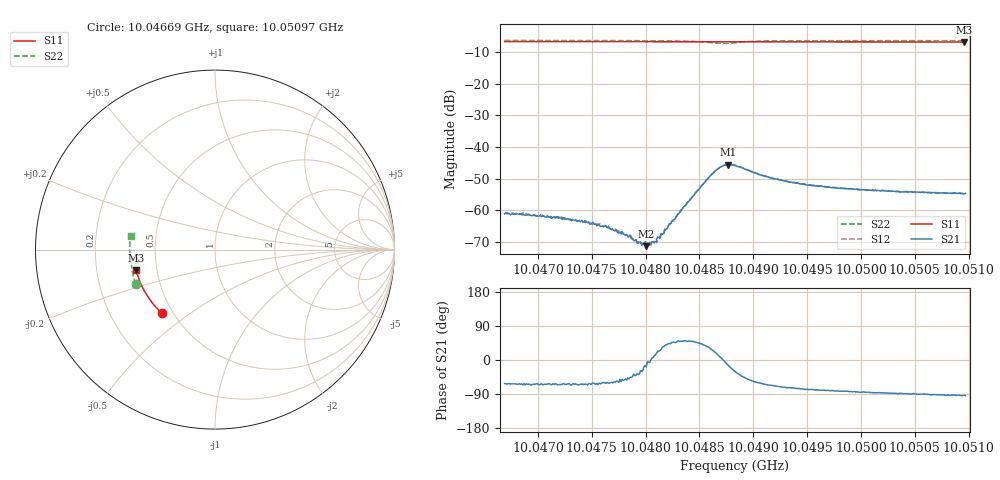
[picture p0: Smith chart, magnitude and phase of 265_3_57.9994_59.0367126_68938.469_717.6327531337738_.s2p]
#  HZ  S  RI  R  50.00
! Rohde & Schwarz Vector Network Analyzer
! Rohde-Schwarz,ZNB20-2Port,1311601062101988,3.16
! Created: UTC 3/21/2024, 1:02:09 AM
! freq[Hz]  re:S11  im:S11  re:S21  im:S21  re:S12  im:S12  re:S22  im:S22
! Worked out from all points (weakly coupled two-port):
!   401 points, 10.04669 GHz to 10.05097 GHz, reference 50 ohm
!   highest |S21| = -45.56 dB at 10.04877 GHz (marker M1); lowest = -71.3 dB at 10.04801 GHz (marker M2)
!   lowest |S11| = -6.9 dB at 10.05096 GHz (marker M3), VSWR 2.66, Z = 19.1 - j5.55 ohm
!   |S11| at or under -10 dB: nowhere
!   |S22| runs from -7.4 to -6.4 dB; largest |S21 - S12| = 0.00037
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1.0046691e10  -0.2962 -0.3531  0.000411 -0.000777  0.000486 -0.000789  -0.4397 -0.1915
1.0047172e10  -0.3191 -0.331  0.000335 -0.000691  0.000397 -0.000682  -0.4508 -0.1605
1.0047407e10  -0.3299 -0.3196  0.000311 -0.000621  0.000311 -0.000589  -0.4554 -0.1449
1.0047643e10  -0.3402 -0.3079  0.000272 -0.000456  0.000312 -0.00048  -0.4595 -0.1286
1.0047825e10  -0.3478 -0.2986  0.000251 -0.000326  0.000289 -0.000299  -0.462 -0.1156
1.004791e10  -0.3513 -0.2941  0.000263 -0.000223  0.000284 -0.000187  -0.4631 -0.1091
1.0047953e10  -0.3529 -0.2921  0.000282 -0.00015  0.00028 -0.000125  -0.4636 -0.1058
1.0048006e10  -0.3552 -0.2893  0.00026 -8.47e-05  0.000276 -4.89e-05  -0.464 -0.1015
1.0048028e10  -0.3561 -0.2882  0.00028 -2.75e-05  0.000287 -4.09e-05  -0.4641 -0.0999
1.004806e10  -0.3574 -0.2864  0.000326 3.05e-05  0.000283 3.62e-05  -0.4643 -0.0974
1.0048124e10  -0.36 -0.283  0.000343 0.000146  0.000309 0.00017  -0.4647 -0.0921
1.0048178e10  -0.362 -0.2803  0.000376 0.000291  0.000375 0.000343  -0.4647 -0.0875
1.0048306e10  -0.3668 -0.2733  0.000561 0.000686  0.000569 0.000728  -0.4635 -0.0757
1.0048595e10  -0.3774 -0.2572  0.00291 0.00177  0.00283 0.00194  -0.4416 -0.0498
1.0048691e10  -0.3805 -0.252  0.00474 0.000666  0.00471 0.000975  -0.4265 -0.0568
1.0048766e10  -0.3829 -0.2481  0.00512 -0.00126  0.00523 -0.000943  -0.4259 -0.0709
1.004883e10  -0.3852 -0.2446  0.0044 -0.00257  0.00463 -0.00232  -0.4351 -0.0787
1.0049194e10  -0.3972 -0.2238  0.00119 -0.00293  0.00137 -0.00289  -0.4686 -0.0538
1.0049547e10  -0.4076 -0.203  0.000522 -0.00241  0.000657 -0.00239  -0.4745 -0.0251
1.0050264e10  -0.4255 -0.1592  9.75e-05 -0.00202  0.000216 -0.00201  -0.4752 0.0263
1.0050959e10  -0.4382 -0.1156  -0.000115 -0.00182  -4.54e-05 -0.00186  -0.47 0.0731
1.005097e10  -0.4385 -0.115  -0.000125 -0.00185  -8.25e-06 -0.00186  -0.47 0.0738
